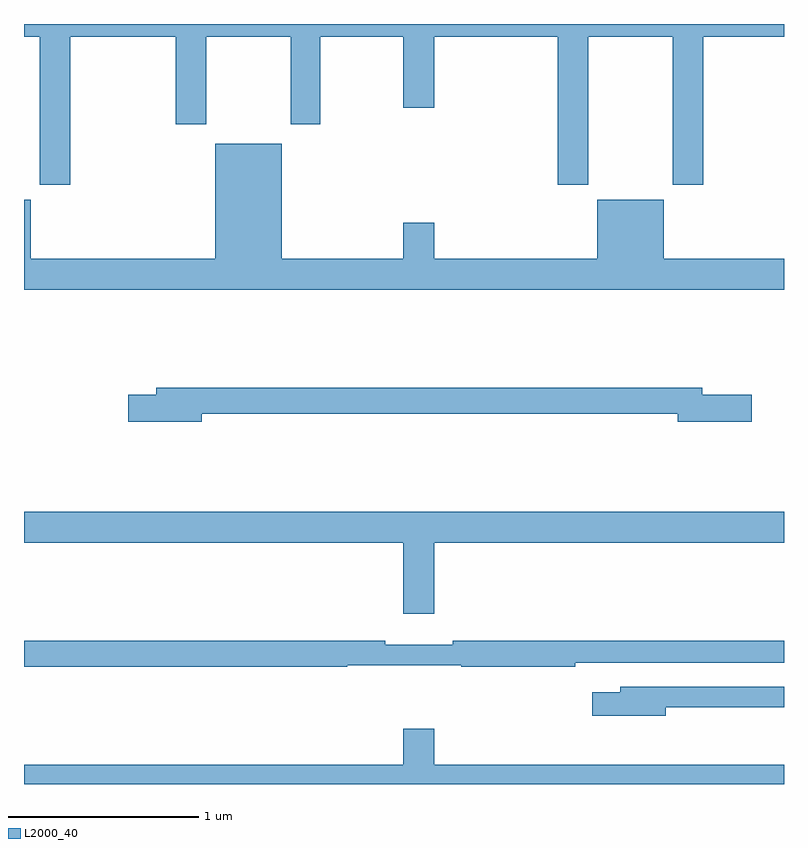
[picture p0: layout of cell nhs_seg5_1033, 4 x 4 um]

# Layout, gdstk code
import gdstk
lib = gdstk.Library(unit=1e-6, precision=1e-09)
def P(c, l, *ps):  # polygons
    for p in ps: c.add(gdstk.Polygon(p, *l))
L2000_40 = (2000, 40)

nhs_seg5_1033 = lib.new_cell('nhs_seg5_1033')
P(nhs_seg5_1033, L2000_40, [(175.244,884.732),(175.799,884.732),(175.799,884.271),(175.959,884.271),(175.959,884.732),(176.404,884.732),(176.404,884.271),(176.559,884.271),(176.559,884.732),(176.996,884.732),(176.996,884.358),(177.16,884.358),(177.16,884.732),(177.809,884.732),(177.809,883.953),(177.969,883.953),(177.969,884.732),(178.414,884.732),(178.414,883.953),(178.574,883.953),(178.574,884.732),(179,884.732),(179,884.799),(175,884.799),(175,884.732),(175.084,884.732),(175.084,883.953),(175.244,883.953)],
  [(179,883.564),(178.366,883.564),(178.366,883.873),(178.016,883.873),(178.016,883.564),(177.16,883.564),(177.16,883.753),(176.996,883.753),(176.996,883.564),(176.356,883.564),(176.356,884.17),(176.006,884.17),(176.006,883.564),(175.036,883.564),(175.036,883.873),(175,883.873),(175,883.4),(179,883.4)],
  [(175.936,882.748),(178.442,882.748),(178.442,882.706),(178.831,882.706),(178.831,882.848),(178.57,882.848),(178.57,882.884),(175.697,882.884),(175.697,882.848),(175.548,882.848),(175.548,882.706),(175.936,882.706)],
  [(177.16,882.068),(179,882.068),(179,882.232),(175,882.232),(175,882.068),(176.996,882.068),(176.996,881.694),(177.16,881.694)],
  [(176.702,881.424),(177.302,881.424),(177.302,881.416),(177.902,881.416),(177.902,881.436),(179,881.436),(179,881.552),(177.256,881.552),(177.256,881.533),(176.9,881.533),(176.9,881.552),(175,881.552),(175,881.416),(176.702,881.416)],
  [(178.378,881.202),(179,881.202),(179,881.31),(178.139,881.31),(178.139,881.281),(177.99,881.281),(177.99,881.159),(178.378,881.159)],
  [(179,880.9),(177.16,880.9),(177.16,881.089),(176.996,881.089),(176.996,880.9),(175,880.9),(175,880.799),(179,880.799)])

lib.write_gds('nhs_seg5_1033.gds')
